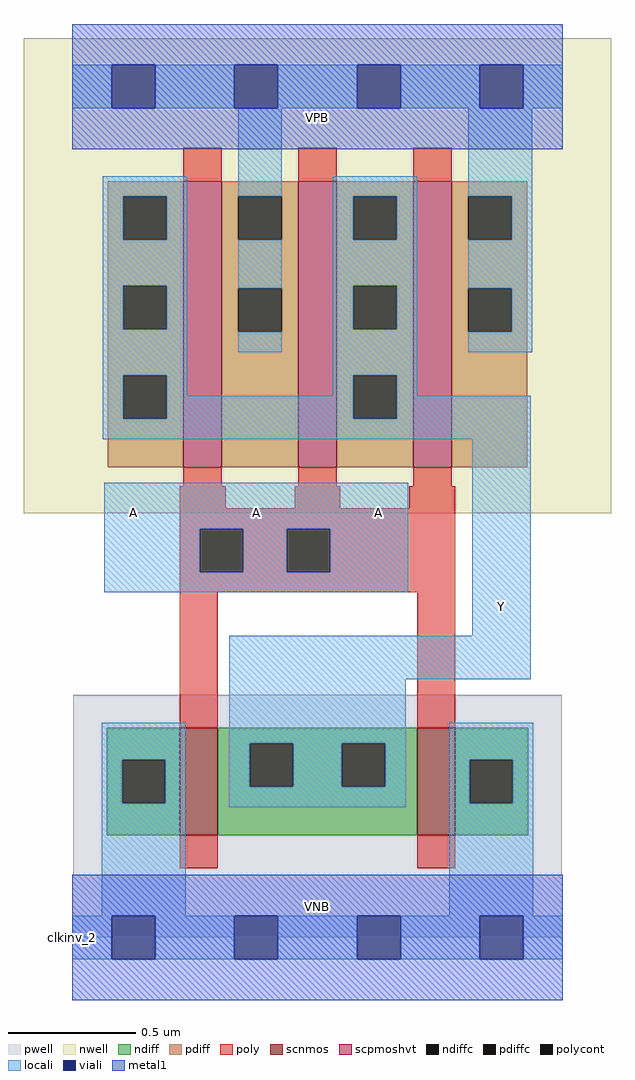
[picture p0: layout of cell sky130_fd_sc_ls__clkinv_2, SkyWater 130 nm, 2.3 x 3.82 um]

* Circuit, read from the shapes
.subckt sky130_fd_sc_ls__clkinv_2 A VGND VNB VPB VPWR Y
XM1 Y A VGND VNB sky130_fd_pr__nfet_01v8 w=0.42 l=0.15 m=2
XM2 VPWR A Y VPB sky130_fd_pr__pfet_01v8_hvt w=1.12 l=0.15 m=3
.ends

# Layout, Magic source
magic
tech sky130A
magscale 1 2
<< nwell >>
rect -38 332 422 704
<< pwell >>
rect 1 49 383 190
rect 0 0 384 49
<< scnmos >>
rect 84 80 114 164
rect 270 80 300 164
<< scpmoshvt >>
rect 87 368 117 592
rect 177 368 207 592
rect 267 368 297 592
<< ndiff >>
rect 27 139 84 164
rect 27 105 39 139
rect 73 105 84 139
rect 27 80 84 105
rect 114 152 270 164
rect 114 118 139 152
rect 173 118 211 152
rect 245 118 270 152
rect 114 80 270 118
rect 300 139 357 164
rect 300 105 311 139
rect 345 105 357 139
rect 300 80 357 105
<< pdiff >>
rect 28 580 87 592
rect 28 546 40 580
rect 74 546 87 580
rect 28 510 87 546
rect 28 476 40 510
rect 74 476 87 510
rect 28 440 87 476
rect 28 406 40 440
rect 74 406 87 440
rect 28 368 87 406
rect 117 580 177 592
rect 117 546 130 580
rect 164 546 177 580
rect 117 508 177 546
rect 117 474 130 508
rect 164 474 177 508
rect 117 368 177 474
rect 207 580 267 592
rect 207 546 220 580
rect 254 546 267 580
rect 207 510 267 546
rect 207 476 220 510
rect 254 476 267 510
rect 207 440 267 476
rect 207 406 220 440
rect 254 406 267 440
rect 207 368 267 406
rect 297 580 356 592
rect 297 546 310 580
rect 344 546 356 580
rect 297 508 356 546
rect 297 474 310 508
rect 344 474 356 508
rect 297 368 356 474
<< ndiffc >>
rect 39 105 73 139
rect 139 118 173 152
rect 211 118 245 152
rect 311 105 345 139
<< pdiffc >>
rect 40 546 74 580
rect 40 476 74 510
rect 40 406 74 440
rect 130 546 164 580
rect 130 474 164 508
rect 220 546 254 580
rect 220 476 254 510
rect 220 406 254 440
rect 310 546 344 580
rect 310 474 344 508
<< poly >>
rect 87 592 117 618
rect 177 592 207 618
rect 267 592 297 618
rect 87 353 117 368
rect 177 353 207 368
rect 267 353 297 368
rect 84 336 120 353
rect 174 336 210 353
rect 264 336 300 353
rect 84 320 300 336
rect 84 286 100 320
rect 134 286 168 320
rect 202 286 300 320
rect 84 270 300 286
rect 84 164 114 270
rect 270 164 300 270
rect 84 54 114 80
rect 270 54 300 80
<< polycont >>
rect 100 286 134 320
rect 168 286 202 320
<< locali >>
rect 0 649 31 683
rect 65 649 127 683
rect 161 649 223 683
rect 257 649 319 683
rect 353 649 384 683
rect 24 580 90 596
rect 24 546 40 580
rect 74 546 90 580
rect 24 510 90 546
rect 24 476 40 510
rect 74 476 90 510
rect 24 440 90 476
rect 130 580 164 649
rect 130 508 164 546
rect 130 458 164 474
rect 204 580 270 596
rect 204 546 220 580
rect 254 546 270 580
rect 204 510 270 546
rect 204 476 220 510
rect 254 476 270 510
rect 24 406 40 440
rect 74 424 90 440
rect 204 440 270 476
rect 310 580 360 649
rect 344 546 360 580
rect 310 508 360 546
rect 344 474 360 508
rect 310 458 360 474
rect 204 424 220 440
rect 74 406 220 424
rect 254 424 270 440
rect 254 406 359 424
rect 24 390 359 406
rect 25 320 263 356
rect 25 286 100 320
rect 134 286 168 320
rect 202 286 263 320
rect 25 270 263 286
rect 313 236 359 390
rect 123 202 359 236
rect 23 139 89 168
rect 23 105 39 139
rect 73 105 89 139
rect 23 17 89 105
rect 123 152 261 202
rect 123 118 139 152
rect 173 118 211 152
rect 245 118 261 152
rect 123 102 261 118
rect 295 139 361 168
rect 295 105 311 139
rect 345 105 361 139
rect 295 17 361 105
rect 0 -17 31 17
rect 65 -17 127 17
rect 161 -17 223 17
rect 257 -17 319 17
rect 353 -17 384 17
<< viali >>
rect 31 649 65 683
rect 127 649 161 683
rect 223 649 257 683
rect 319 649 353 683
rect 31 -17 65 17
rect 127 -17 161 17
rect 223 -17 257 17
rect 319 -17 353 17
<< metal1 >>
rect 0 683 384 715
rect 0 649 31 683
rect 65 649 127 683
rect 161 649 223 683
rect 257 649 319 683
rect 353 649 384 683
rect 0 617 384 649
rect 0 17 384 49
rect 0 -17 31 17
rect 65 -17 127 17
rect 161 -17 223 17
rect 257 -17 319 17
rect 353 -17 384 17
rect 0 -49 384 -17
<< labels >>
rlabel comment s 0 0 0 0 4 clkinv_2
flabel pwell s 0 0 384 49 0 FreeSans 200 0 0 0 VNB
port 3 nsew ground bidirectional
flabel nwell s 0 617 384 666 0 FreeSans 200 0 0 0 VPB
port 4 nsew power bidirectional
flabel metal1 s 0 617 384 666 0 FreeSans 340 0 0 0 VPWR
port 5 nsew power bidirectional abutment
flabel metal1 s 0 0 384 49 0 FreeSans 340 0 0 0 VGND
port 2 nsew ground bidirectional abutment
flabel locali s 319 242 353 276 0 FreeSans 340 0 0 0 Y
port 6 nsew signal output
flabel locali s 31 316 65 350 0 FreeSans 340 0 0 0 A
port 1 nsew signal input
flabel locali s 127 316 161 350 0 FreeSans 340 0 0 0 A
port 1 nsew signal input
flabel locali s 223 316 257 350 0 FreeSans 340 0 0 0 A
port 1 nsew signal input
<< properties >>
string LEFsite unit
string LEFclass CORE
string FIXED_BBOX 0 0 384 666
string GDS_FILE $PDKPATH/libs.ref/sky130_fd_sc_ls/gds/sky130_fd_sc_ls.gds
string LEFsymmetry X Y
string GDS_END 2542310
string GDS_START 2538208
<< end >>
